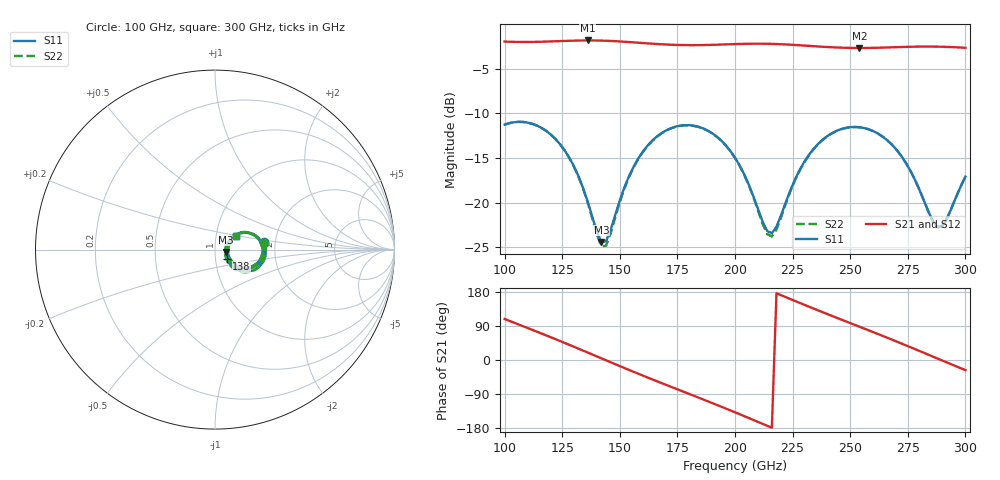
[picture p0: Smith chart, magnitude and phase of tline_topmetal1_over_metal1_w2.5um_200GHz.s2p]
#  GHZ S DB R 50
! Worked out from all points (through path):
!   101 points, 100 GHz to 300 GHz, reference 50 ohm
!   highest |S21| = -1.84 dB at 136 GHz (marker M1); lowest = -2.7 dB at 254 GHz (marker M2)
!   group delay of S21, straight-line fit = 6.87 ps
!   lowest |S11| = -24.4 dB at 142 GHz (marker M3), VSWR 1.13, Z = 56.2 - j1.45 ohm
!   |S11| at or under -10 dB: start of sweep to end of sweep
!   |S22| runs from -24.9 to -11.0 dB; largest |S21 - S12| = 9.2e-14
!   S11 on the Smith chart (normalised r, x): 100 GHz: 1.73, +0.15; 138 GHz: 1.14, -0.12; 300 GHz: 1.25, +0.19
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100  -11.27 8.4  -1.97 108.3  -1.97 108.3  -11.27 8.1
116  -11.63 -21.6  -1.98 69.9  -1.98 69.9  -11.63 -22.3
126  -14.13 -38.4  -1.90 45.3  -1.90 45.3  -14.14 -39.5
134  -18.32 -44.6  -1.85 25.0  -1.85 25.0  -18.39 -46.2
136  -19.83 -42.8  -1.84 19.9  -1.84 19.9  -19.95 -44.7
138  -21.53 -37.9  -1.84 14.7  -1.84 14.7  -21.73 -40.0
142  -24.41 -12.3  -1.86 4.4  -1.86 4.4  -24.88 -13.7
144  -24.33 6.3  -1.88 -0.7  -1.88 -0.7  -24.83 6.3
154  -17.04 36.3  -2.02 -26.2  -2.02 -26.2  -17.14 37.1
168  -12.24 17.7  -2.27 -60.6  -2.27 -60.6  -12.27 17.9
184  -11.50 -11.1  -2.36 -98.9  -2.36 -98.9  -11.52 -11.2
200  -14.96 -36.3  -2.25 -138.0  -2.25 -138.0  -15.00 -36.9
208  -19.30 -37.5  -2.21 -158.3  -2.21 -158.3  -19.42 -38.7
216  -23.42 1.8  -2.23 -178.7  -2.23 -178.7  -23.79 1.9
224  -18.63 33.8  -2.32 160.9  -2.32 160.9  -18.76 34.9
234  -14.02 27.9  -2.48 136.0  -2.48 136.0  -14.06 28.5
244  -11.97 12.3  -2.63 111.8  -2.63 111.8  -11.99 12.7
254  -11.56 -5.1  -2.68 87.9  -2.68 87.9  -11.57 -4.8
268  -13.48 -28.0  -2.61 54.0  -2.61 54.0  -13.49 -27.9
278  -17.39 -36.6  -2.54 29.1  -2.54 29.1  -17.38 -36.5
288  -22.76 -6.2  -2.54 3.6  -2.54 3.6  -22.75 -6.1
300  -17.10 32.2  -2.66 -26.7  -2.66 -26.7  -17.10 32.2
